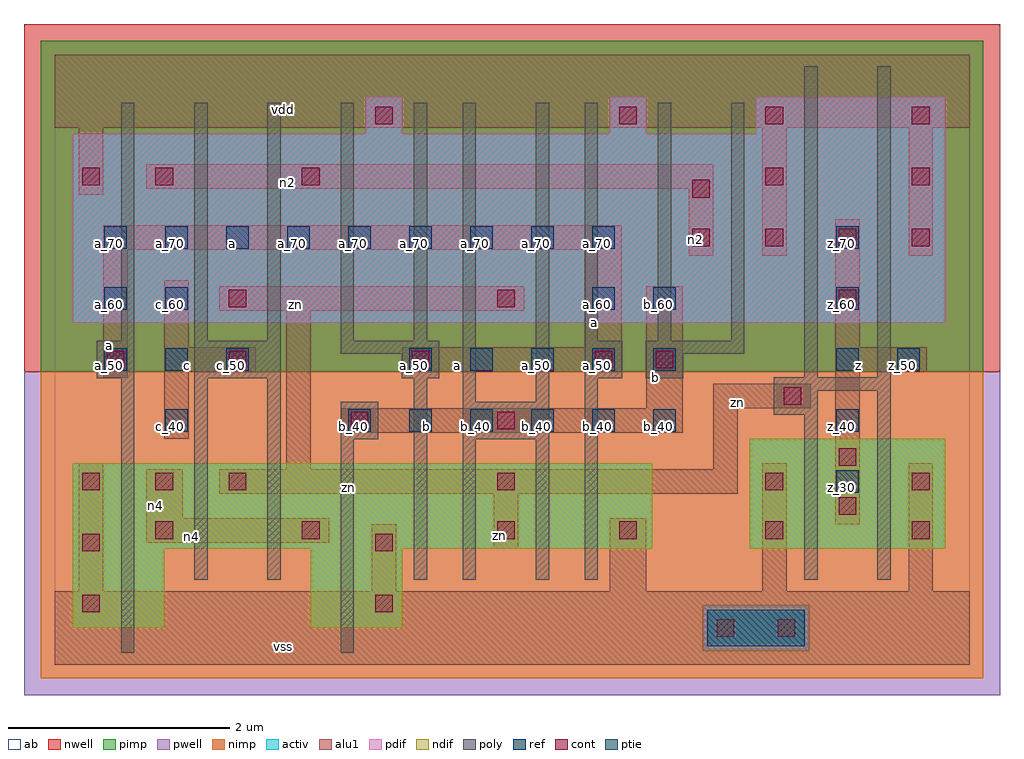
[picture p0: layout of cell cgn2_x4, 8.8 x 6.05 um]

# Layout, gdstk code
import gdstk
lib = gdstk.Library(unit=1e-6, precision=2.5e-09)
def R(c, l, rs):  # rectangles x0, y0, x1, y1
    for r in rs: c.add(gdstk.rectangle(r[:2], r[2:], *l))
def A(c, l, x, y, w, h, nx, ny, dx, dy):  # array of equal rectangles
    R(c, l, [(x+i*dx, y+j*dy, x+i*dx+w, y+j*dy+h) for i in range(nx) for j in range(ny)])
ndif = (3, 0)
pdif = (4, 0)
ptie = (6, 0)
ref = (24, 0)
cont = (25, 0)
pwell = (41, 0)
nwell = (42, 0)
activ = (43, 0)
pimp = (44, 0)
nimp = (45, 0)
poly = (46, 0)
alu1 = (49, 0)
ab = (63, 0)

cgn2_x4 = lib.new_cell('cgn2_x4')
R(cgn2_x4, ndif, [(0.165,0.33,0.99,1.045), (2.31,0.33,3.135,1.045), (0.165,1.045,5.39,1.815), (6.27,1.045,8.03,2.035)])
R(cgn2_x4, pdif, [(0.165,3.08,8.03,4.785), (2.805,4.785,3.135,5.115), (5.005,4.785,5.335,5.115), (6.325,4.785,8.03,5.115)])
R(cgn2_x4, ptie, [(5.885,0.165,6.765,0.495)])
A(cgn2_x4, ref, 7.05, 1.55, 0.2, 0.2, 1, 5, 0, 0.55)
A(cgn2_x4, ref, 2.65, 2.1, 0.2, 0.2, 6, 1, 0.55, 0)
A(cgn2_x4, ref, 0.45, 2.65, 0.2, 0.2, 3, 1, 0.55, 0)
A(cgn2_x4, ref, 3.2, 2.65, 0.2, 0.2, 5, 1, 0.55, 0)
A(cgn2_x4, ref, 0.45, 3.75, 0.2, 0.2, 9, 1, 0.55, 0)
R(cgn2_x4, ref, [(1,2.1,1.2,2.3), (7.6,2.65,7.8,2.85), (0.45,3.2,0.65,3.4), (1,3.2,1.2,3.4), (4.85,3.2,5.05,3.4), (5.4,3.2,5.6,3.4)])
A(cgn2_x4, cont, 5.09, 1.13, 0.16, 0.16, 3, 2, 1.32, 3.74)
A(cgn2_x4, cont, 0.25, 1.57, 0.16, 0.16, 3, 1, 0.66, 0)
A(cgn2_x4, cont, 1.57, 2.67, 0.16, 0.16, 3, 1, 1.65, 0)
A(cgn2_x4, cont, 5.75, 3.77, 0.16, 0.16, 4, 1, 0.66, 0)
R(cgn2_x4, cont, [(5.97,0.25,6.13,0.41), (6.52,0.25,6.68,0.41), (0.25,0.47,0.41,0.63), (2.89,0.47,3.05,0.63), (0.25,1.02,0.41,1.18), (2.89,1.02,3.05,1.18), (0.91,1.13,1.07,1.29), (2.23,1.13,2.39,1.29), (3.99,1.13,4.15,1.29), (7.07,1.35,7.23,1.51), (3.99,1.57,4.15,1.73), (6.41,1.57,6.57,1.73), (7.73,1.57,7.89,1.73), (7.07,1.79,7.23,1.95), (2.67,2.12,2.83,2.28), (3.99,2.12,4.15,2.28), (6.575,2.34,6.735,2.5), (0.47,2.67,0.63,2.83), (5.42,2.67,5.58,2.83), (1.57,3.22,1.73,3.38), (3.99,3.22,4.15,3.38), (7.07,3.22,7.23,3.38), (5.75,4.21,5.91,4.37), (0.25,4.32,0.41,4.48), (0.91,4.32,1.07,4.48), (2.23,4.32,2.39,4.48), (6.41,4.32,6.57,4.48), (7.73,4.32,7.89,4.48), (2.89,4.87,3.05,5.03)])
R(cgn2_x4, pwell, [(-0.275,-0.275,8.525,2.64)])
R(cgn2_x4, nwell, [(-0.275,2.64,8.525,5.775)])
R(cgn2_x4, activ, [(5.885,0.165,6.765,0.495), (0.165,0.33,0.99,1.045), (2.31,0.33,3.135,1.045), (0.165,1.045,5.39,1.815), (6.27,1.045,8.03,2.035), (0.165,3.08,8.03,4.785), (2.805,4.785,3.135,5.115), (5.005,4.785,5.335,5.115), (6.325,4.785,8.03,5.115)])
R(cgn2_x4, pimp, [(5.845,0.125,6.805,0.535), (-0.125,2.64,8.375,5.625)])
R(cgn2_x4, nimp, [(-0.125,-0.125,8.375,0.125), (-0.125,0.125,5.845,0.535), (6.805,0.125,8.375,0.535), (-0.125,0.535,8.375,2.64)])
A(cgn2_x4, poly, 0.6, 2.92, 0.12, 2.145, 5, 1, 0.66, 0)
A(cgn2_x4, poly, 4.78, 2.92, 0.12, 2.145, 3, 1, 0.66, 0)
R(cgn2_x4, poly, [(0.6,0.105,0.72,2.58), (2.58,0.105,2.7,2.03), (1.26,0.765,1.38,2.58), (1.92,0.765,2.04,2.58), (3.24,0.765,3.36,2.58), (3.68,0.765,3.8,2.03), (4.34,0.765,4.46,2.03), (4.78,0.765,4.9,2.58), (6.76,0.765,6.88,2.25), (7.42,0.765,7.54,2.47), (2.58,2.03,2.92,2.37), (3.68,2.03,4.46,2.37), (6.485,2.25,6.88,2.47), (3.68,2.37,3.8,5.065), (4.34,2.37,4.46,5.065), (6.485,2.47,7.54,2.59), (0.38,2.58,0.72,2.92), (1.26,2.58,2.04,2.92), (3.13,2.58,3.47,2.8), (4.78,2.58,5.12,2.92), (5.33,2.58,5.67,2.8), (6.76,2.59,6.88,5.395), (7.42,2.59,7.54,5.395), (2.58,2.8,3.47,2.92), (5.33,2.8,6.22,2.92)])
R(cgn2_x4, alu1, [(0,0,8.25,0.66), (0.22,0.66,0.44,1.815), (2.86,0.66,3.08,1.265), (5.005,0.66,5.335,1.32), (6.38,0.66,6.6,1.815), (7.7,0.66,7.92,1.815), (3.96,1.045,4.18,1.54), (0.825,1.1,2.475,1.32), (7.04,1.265,7.26,2.64), (0.825,1.32,1.155,1.76), (1.485,1.54,6.16,1.76), (2.09,1.76,2.31,3.19), (5.94,1.76,6.16,2.31), (0.99,2.035,1.21,2.64), (2.585,2.09,5.665,2.31), (5.335,2.31,5.665,3.41), (5.94,2.31,6.82,2.53), (0.44,2.585,0.66,3.74), (0.99,2.64,1.815,2.86), (3.135,2.64,5.115,2.86), (7.04,2.64,7.865,2.86), (0.99,2.86,1.21,3.465), (4.785,2.86,5.115,3.74), (7.04,2.86,7.26,4.015), (1.485,3.19,4.235,3.41), (5.72,3.685,5.94,4.29), (6.38,3.685,6.6,4.84), (7.7,3.685,7.92,4.84), (0.44,3.74,5.115,3.96), (0.22,4.235,0.44,4.84), (0.825,4.29,5.94,4.51), (0,4.84,8.25,5.5)])
R(cgn2_x4, ab, [(0,0,8.25,5.5)])
cgn2_x4.add(gdstk.Label('vss', (2.0625,0.165), layer=49, texttype=0))
cgn2_x4.add(gdstk.Label('zn', (4.015,1.1675), layer=49, texttype=0))
cgn2_x4.add(gdstk.Label('n4', (1.2375,1.155), layer=49, texttype=0))
cgn2_x4.add(gdstk.Label('zn', (2.6525,1.595), layer=49, texttype=0))
cgn2_x4.add(gdstk.Label('n4', (0.9075,1.43), layer=49, texttype=0))
cgn2_x4.add(gdstk.Label('zn', (6.16,2.365), layer=49, texttype=0))
cgn2_x4.add(gdstk.Label('b', (3.355,2.145), layer=49, texttype=0))
cgn2_x4.add(gdstk.Label('z', (7.245,2.695), layer=49, texttype=0))
cgn2_x4.add(gdstk.Label('b', (5.4175,2.585), layer=49, texttype=0))
cgn2_x4.add(gdstk.Label('a', (3.63,2.695), layer=49, texttype=0))
cgn2_x4.add(gdstk.Label('n2', (5.775,3.835), layer=49, texttype=0))
cgn2_x4.add(gdstk.Label('a', (4.8675,3.08), layer=49, texttype=0))
cgn2_x4.add(gdstk.Label('c', (1.195,2.695), layer=49, texttype=0))
cgn2_x4.add(gdstk.Label('zn', (2.1725,3.245), layer=49, texttype=0))
cgn2_x4.add(gdstk.Label('a', (0.495,2.8725), layer=49, texttype=0))
cgn2_x4.add(gdstk.Label('a', (1.6075,3.795), layer=49, texttype=0))
cgn2_x4.add(gdstk.Label('n2', (2.1025,4.345), layer=49, texttype=0))
cgn2_x4.add(gdstk.Label('vdd', (2.0625,5.005), layer=49, texttype=0))
cgn2_x4.add(gdstk.Label('z_70', (7.1,3.8), layer=24, texttype=0))
cgn2_x4.add(gdstk.Label('z_60', (7.1,3.25), layer=24, texttype=0))
cgn2_x4.add(gdstk.Label('z_50', (7.65,2.7), layer=24, texttype=0))
cgn2_x4.add(gdstk.Label('z_50', (7.1,2.7), layer=24, texttype=0))
cgn2_x4.add(gdstk.Label('z_30', (7.1,1.6), layer=24, texttype=0))
cgn2_x4.add(gdstk.Label('z_40', (7.1,2.15), layer=24, texttype=0))
cgn2_x4.add(gdstk.Label('b_60', (5.45,3.25), layer=24, texttype=0))
cgn2_x4.add(gdstk.Label('c_40', (1.05,2.15), layer=24, texttype=0))
cgn2_x4.add(gdstk.Label('c_50', (1.6,2.7), layer=24, texttype=0))
cgn2_x4.add(gdstk.Label('c_60', (1.05,3.25), layer=24, texttype=0))
cgn2_x4.add(gdstk.Label('c_50', (1.05,2.7), layer=24, texttype=0))
cgn2_x4.add(gdstk.Label('b_40', (5.45,2.15), layer=24, texttype=0))
cgn2_x4.add(gdstk.Label('b_50', (5.45,2.7), layer=24, texttype=0))
cgn2_x4.add(gdstk.Label('a_50', (0.5,2.7), layer=24, texttype=0))
cgn2_x4.add(gdstk.Label('a_50', (3.25,2.7), layer=24, texttype=0))
cgn2_x4.add(gdstk.Label('a_50', (4.9,2.7), layer=24, texttype=0))
cgn2_x4.add(gdstk.Label('a_70', (4.9,3.8), layer=24, texttype=0))
cgn2_x4.add(gdstk.Label('a_50', (3.8,2.7), layer=24, texttype=0))
cgn2_x4.add(gdstk.Label('a_50', (4.35,2.7), layer=24, texttype=0))
cgn2_x4.add(gdstk.Label('a_70', (4.35,3.8), layer=24, texttype=0))
cgn2_x4.add(gdstk.Label('a_70', (3.8,3.8), layer=24, texttype=0))
cgn2_x4.add(gdstk.Label('a_70', (3.25,3.8), layer=24, texttype=0))
cgn2_x4.add(gdstk.Label('a_70', (2.7,3.8), layer=24, texttype=0))
cgn2_x4.add(gdstk.Label('a_70', (2.15,3.8), layer=24, texttype=0))
cgn2_x4.add(gdstk.Label('a_70', (1.6,3.8), layer=24, texttype=0))
cgn2_x4.add(gdstk.Label('a_70', (1.05,3.8), layer=24, texttype=0))
cgn2_x4.add(gdstk.Label('a_70', (0.5,3.8), layer=24, texttype=0))
cgn2_x4.add(gdstk.Label('a_60', (0.5,3.25), layer=24, texttype=0))
cgn2_x4.add(gdstk.Label('a_60', (4.9,3.25), layer=24, texttype=0))
cgn2_x4.add(gdstk.Label('b_40', (2.7,2.15), layer=24, texttype=0))
cgn2_x4.add(gdstk.Label('b_40', (4.9,2.15), layer=24, texttype=0))
cgn2_x4.add(gdstk.Label('b_40', (4.35,2.15), layer=24, texttype=0))
cgn2_x4.add(gdstk.Label('b_40', (3.8,2.15), layer=24, texttype=0))
cgn2_x4.add(gdstk.Label('b_40', (3.25,2.15), layer=24, texttype=0))

lib.write_gds('cgn2_x4.gds')
